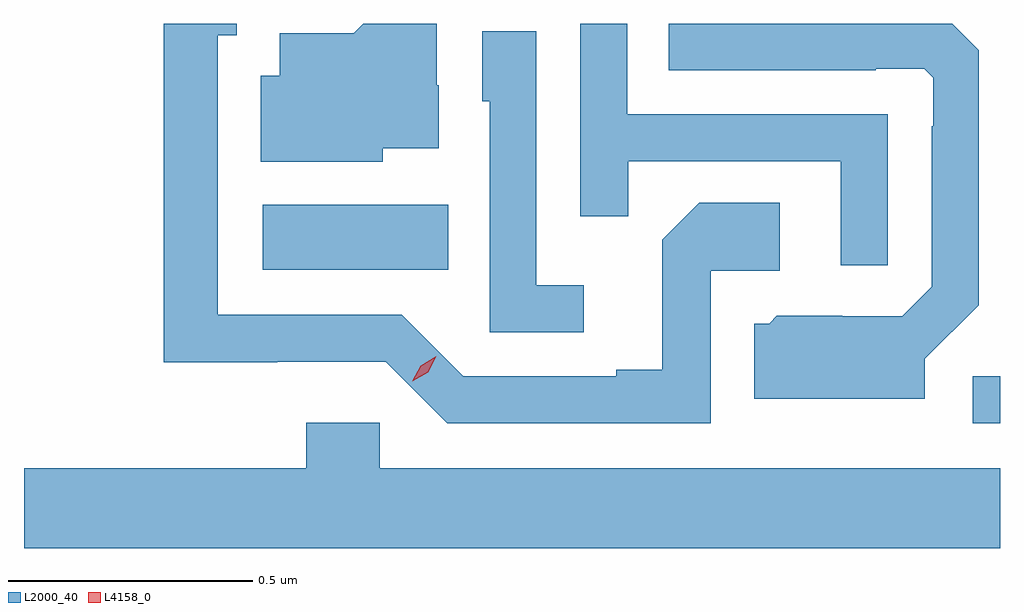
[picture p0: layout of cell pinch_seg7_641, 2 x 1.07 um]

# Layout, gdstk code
import gdstk
lib = gdstk.Library(unit=1e-6, precision=1e-09)
def R(c, l, rs):  # rectangles x0, y0, x1, y1
    for r in rs: c.add(gdstk.rectangle(r[:2], r[2:], *l))
def P(c, l, *ps):  # polygons
    for p in ps: c.add(gdstk.Polygon(p, *l))
L2000_40 = (2000, 40)
L4158_0 = (4158, 0)

pinch_seg7_641 = lib.new_cell('pinch_seg7_641')
R(pinch_seg7_641, L2000_40, [(148.599,1016.856,148.655,1016.952), (147.144,1017.17,147.524,1017.304)])
P(pinch_seg7_641, L2000_40, [(148.062,1017.168),(148.204,1017.168),(148.204,1017.308),(148.039,1017.308),(147.963,1017.232),(147.963,1016.965),(147.869,1016.965),(147.869,1016.952),(147.555,1016.952),(147.429,1017.078),(147.052,1017.078),(147.052,1017.651),(147.091,1017.651),(147.091,1017.674),(146.941,1017.674),(146.941,1016.981),(147.174,1016.981),(147.174,1016.982),(147.396,1016.982),(147.522,1016.856),(148.062,1016.856)],
  [(147.39,1017.419),(147.505,1017.419),(147.505,1017.548),(147.501,1017.548),(147.501,1017.674),(147.35,1017.674),(147.331,1017.655),(147.179,1017.655),(147.179,1017.568),(147.14,1017.568),(147.14,1017.392),(147.39,1017.392)],
  [(148.425,1017.489),(147.891,1017.489),(147.891,1017.674),(147.795,1017.674),(147.795,1017.28),(147.893,1017.28),(147.893,1017.393),(148.329,1017.393),(148.329,1017.18),(148.425,1017.18)],
  [(148.501,1016.988),(148.611,1017.098),(148.611,1017.62),(148.557,1017.674),(147.976,1017.674),(147.976,1017.579),(148.4,1017.579),(148.4,1017.582),(148.5,1017.582),(148.518,1017.564),(148.518,1017.464),(148.515,1017.464),(148.515,1017.135),(148.455,1017.075),(148.332,1017.075),(148.332,1017.076),(148.198,1017.076),(148.182,1017.06),(148.151,1017.06),(148.151,1016.906),(148.501,1016.906)],
  [(147.802,1017.139),(147.705,1017.139),(147.705,1017.659),(147.594,1017.659),(147.594,1017.516),(147.609,1017.516),(147.609,1017.042),(147.802,1017.042)],
  [(148.655,1016.764),(147.384,1016.764),(147.384,1016.857),(147.233,1016.857),(147.233,1016.764),(146.655,1016.764),(146.655,1016.6),(148.655,1016.6)])
P(pinch_seg7_641, L4158_0, [(147.451,1016.942),(147.451,1016.942),(147.468,1016.974),(147.5,1016.993),(147.5,1016.993),(147.5,1016.993),(147.483,1016.96),(147.451,1016.942)])

lib.write_gds('pinch_seg7_641.gds')
